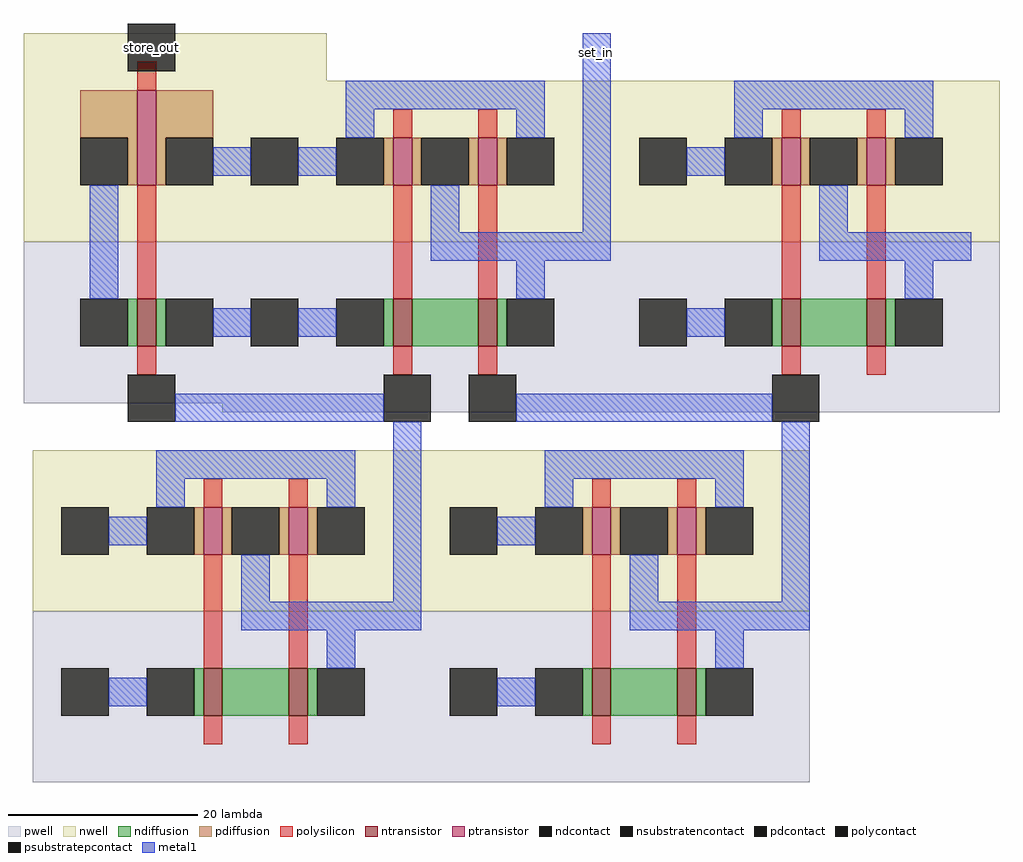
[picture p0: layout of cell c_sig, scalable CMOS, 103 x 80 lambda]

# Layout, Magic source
magic
tech scmos
<< polycontact >>
rect 10 75 15 80
rect 10 38 15 43
rect 37 38 42 43
rect 46 38 51 43
rect 78 38 83 43
<< metal1 >>
rect 58 58 61 79
rect 51 55 61 58
rect 92 55 99 58
rect 15 38 37 41
rect 51 38 78 41
rect 38 19 41 38
rect 79 19 82 38
rect 31 16 41 19
rect 72 16 82 19
use inv  inv_0
transform -1 0 19 0 1 63
box -12 -23 20 16
use NAND2  NAND2_2
transform 1 0 32 0 1 46
box -12 -7 29 28
use NAND2  NAND2_3
transform 1 0 73 0 1 46
box -12 -7 29 28
use NAND2  NAND2_1
transform 1 0 53 0 1 7
box -12 -7 29 28
use NAND2  NAND2_0
transform 1 0 12 0 1 7
box -12 -7 29 28
<< labels >>
rlabel metal1 58 75 61 79 5 set_in
rlabel polycontact 10 75 15 80 5 store_out
<< end >>

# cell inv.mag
magic
tech scmos
<< nwell >>
rect -12 -6 20 16
<< pwell >>
rect -12 -23 20 -6
<< ntransistor >>
rect 6 -17 8 -12
<< ptransistor >>
rect 6 0 8 10
<< ndiffusion >>
rect 5 -17 6 -12
rect 8 -17 9 -12
<< pdiffusion >>
rect 0 5 6 10
rect 5 0 6 5
rect 8 5 14 10
rect 8 0 9 5
<< ndcontact >>
rect 0 -17 5 -12
rect 9 -17 14 -12
<< pdcontact >>
rect 0 0 5 5
rect 9 0 14 5
<< psubstratepcontact >>
rect -9 -17 -4 -12
<< nsubstratencontact >>
rect -9 0 -4 5
<< polysilicon >>
rect 6 10 8 13
rect 6 -12 8 0
rect 6 -20 8 -17
<< metal1 >>
rect -4 1 0 4
rect 10 -12 13 0
rect -4 -16 0 -13
<< labels >>
rlabel metal1 -3 2 -2 3 1 Vdd!
rlabel metal1 -3 -15 -2 -14 1 GND!
<< end >>

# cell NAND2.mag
magic
tech scmos
<< nwell >>
rect -12 11 29 28
<< pwell >>
rect -12 -7 29 11
<< ntransistor >>
rect 6 0 8 5
rect 15 0 17 5
<< ptransistor >>
rect 6 17 8 22
rect 15 17 17 22
<< ndiffusion >>
rect 5 0 6 5
rect 8 0 15 5
rect 17 0 18 5
<< pdiffusion >>
rect 5 17 6 22
rect 8 17 9 22
rect 14 17 15 22
rect 17 17 18 22
<< ndcontact >>
rect 0 0 5 5
rect 18 0 23 5
<< pdcontact >>
rect 0 17 5 22
rect 9 17 14 22
rect 18 17 23 22
<< psubstratepcontact >>
rect -9 0 -4 5
<< nsubstratencontact >>
rect -9 17 -4 22
<< polysilicon >>
rect 6 22 8 25
rect 15 22 17 25
rect 6 5 8 17
rect 15 5 17 17
rect 6 -3 8 0
rect 15 -3 17 0
<< metal1 >>
rect 1 25 22 28
rect 1 22 4 25
rect 19 22 22 25
rect -4 18 0 21
rect 10 12 13 17
rect 10 9 22 12
rect 19 5 22 9
rect -4 1 0 4
<< labels >>
rlabel metal1 -3 2 -2 3 1 GND!
rlabel metal1 -3 19 -2 20 1 Vdd!
rlabel polysilicon 6 -3 7 -2 1 a
rlabel polysilicon 15 -3 16 -2 1 b
rlabel metal1 21 8 22 9 1 o
<< end >>
